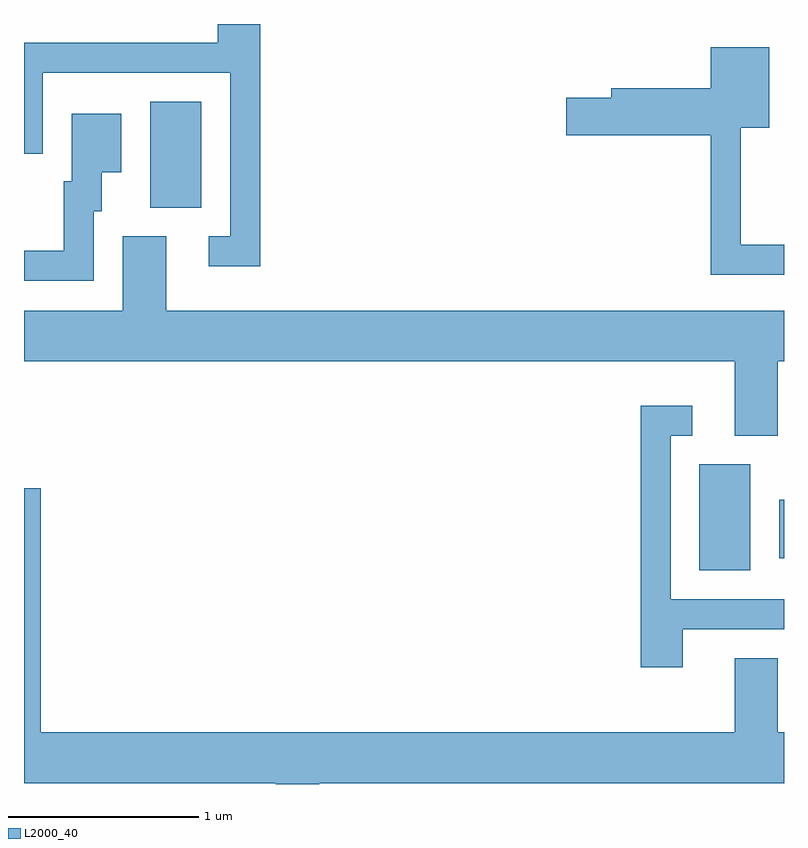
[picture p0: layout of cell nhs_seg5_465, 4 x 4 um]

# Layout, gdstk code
import gdstk
lib = gdstk.Library(unit=1e-6, precision=1e-09)
def R(c, l, rs):  # rectangles x0, y0, x1, y1
    for r in rs: c.add(gdstk.rectangle(r[:2], r[2:], *l))
def P(c, l, *ps):  # polygons
    for p in ps: c.add(gdstk.Polygon(p, *l))
L2000_40 = (2000, 40)

nhs_seg5_465 = lib.new_cell('nhs_seg5_465')
R(nhs_seg5_465, L2000_40, [(201.166,1511.196,201.434,1511.754), (201.586,1511.261,201.611,1511.569), (198.276,1513.106,198.544,1513.664)])
P(nhs_seg5_465, L2000_40, [(198.854,1514.072),(198.631,1514.072),(198.631,1513.974),(197.611,1513.974),(197.611,1513.388),(197.709,1513.388),(197.709,1513.816),(198.696,1513.816),(198.696,1512.954),(198.583,1512.954),(198.583,1512.796),(198.854,1512.796)],
  [(201.611,1512.909),(201.384,1512.909),(201.384,1513.526),(201.534,1513.526),(201.534,1513.949),(201.226,1513.949),(201.226,1513.734),(200.701,1513.734),(200.701,1513.684),(200.466,1513.684),(200.466,1513.486),(201.226,1513.486),(201.226,1512.751),(201.611,1512.751)],
  [(197.979,1513.086),(198.019,1513.086),(198.019,1513.291),(198.124,1513.291),(198.124,1513.599),(197.861,1513.599),(197.861,1513.244),(197.821,1513.244),(197.821,1512.879),(197.611,1512.879),(197.611,1512.721),(197.979,1512.721)],
  [(201.579,1512.296),(201.611,1512.296),(201.611,1512.564),(198.359,1512.564),(198.359,1512.954),(198.131,1512.954),(198.131,1512.564),(197.611,1512.564),(197.611,1512.296),(201.351,1512.296),(201.351,1511.906),(201.579,1511.906)],
  [(201.079,1510.886),(201.611,1510.886),(201.611,1511.044),(201.014,1511.044),(201.014,1511.906),(201.128,1511.906),(201.128,1512.064),(200.856,1512.064),(200.856,1510.686),(201.079,1510.686)],
  [(199.164,1510.076),(201.611,1510.076),(201.611,1510.344),(201.579,1510.344),(201.579,1510.734),(201.351,1510.734),(201.351,1510.344),(197.699,1510.344),(197.699,1511.629),(197.611,1511.629),(197.611,1510.076),(198.936,1510.076),(198.936,1510.072),(199.164,1510.072)])

lib.write_gds('nhs_seg5_465.gds')
